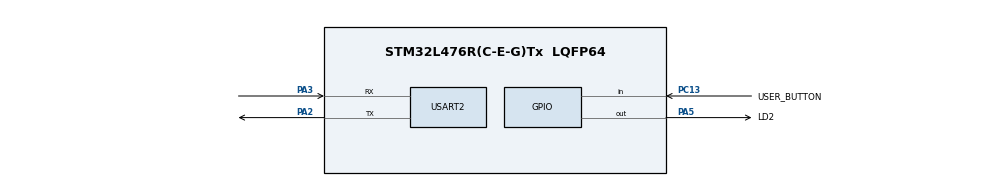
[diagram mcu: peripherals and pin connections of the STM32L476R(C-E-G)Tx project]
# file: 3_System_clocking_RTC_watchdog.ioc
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IWDG.Prescaler=IWDG_PRESCALER_32
Mcu.Family=STM32L4
Mcu.Name=STM32L476R(C-E-G)Tx
Mcu.Package=LQFP64
NVIC.PriorityGroup=NVIC_PRIORITYGROUP_4
NVIC.RTC_WKUP_IRQn=true\:0\:0\:false\:false\:true\:true\:true\:true
PA13\ (JTMS-SWDIO).Mode=Serial_Wire
PA13\ (JTMS-SWDIO).Signal=SYS_JTMS-SWDIO
PA14\ (JTCK-SWCLK).Mode=Serial_Wire
PA14\ (JTCK-SWCLK).Signal=SYS_JTCK-SWCLK
PA2.Mode=Asynchronous
PA2.Signal=USART2_TX
PA3.Mode=Asynchronous
PA3.Signal=USART2_RX
PA5.GPIO_Label=LD2
PA5.Signal=GPIO_Output
PC13.GPIO_Label=USER_BUTTON
PC13.Signal=GPIO_Input
PC14-OSC32_IN\ (PC14).Mode=LSE-External-Oscillator
PC14-OSC32_IN\ (PC14).Signal=RCC_OSC32_IN
PC15-OSC32_OUT\ (PC15).Mode=LSE-External-Oscillator
PC15-OSC32_OUT\ (PC15).Signal=RCC_OSC32_OUT
ProjectManager.HeapSize=0x200
ProjectManager.StackSize=0x400
ProjectManager.TargetToolchain=STM32CubeIDE
RCC.HSE_VALUE=8000000
RCC.HSI_VALUE=16000000
RCC.MSI_VALUE=4000000
RCC.RTCClockSelection=RCC_RTCCLKSOURCE_LSE
RCC.VCOOutputFreq_Value=32000000
USART2.VirtualMode-Asynchronous=VM_ASYNC
VP_IWDG_VS_IWDG.Mode=IWDG_Activate
VP_RTC_VS_RTC_Activate.Mode=RTC_Enabled
VP_RTC_VS_RTC_WakeUp_intern.Mode=WakeUp
board=custom

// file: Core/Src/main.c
/* USER CODE BEGIN Header */
/**
  ******************************************************************************
  * @file           : main.c
  * @brief          : Main program body
  ******************************************************************************
  * @attention
  *
  * Copyright (c) 2024 STMicroelectronics.
  * All rights reserved.
  *
  * This software is licensed under terms that can be found in the LICENSE file
  * in the root directory of this software component.
  * If no LICENSE file comes with this software, it is provided AS-IS.
  *
  ******************************************************************************
  */
/* USER CODE END Header */
#include "main.h"

/* USER CODE BEGIN Includes */
#include <stdio.h>
#include <string.h>
#include <stdbool.h>
/* USER CODE END Includes */

IWDG_HandleTypeDef hiwdg;

RTC_HandleTypeDef hrtc;

UART_HandleTypeDef huart2;

void SystemClock_Config(void);
static void MX_GPIO_Init(void);
static void MX_RTC_Init(void);
static void MX_USART2_UART_Init(void);
static void MX_IWDG_Init(void);

/* USER CODE BEGIN 0 */
int __io_putchar(int ch)
{
    if (ch == '\n') {
        uint8_t ch2 = '\r';
        HAL_UART_Transmit(&huart2, &ch2, 1, HAL_MAX_DELAY);
    }

    HAL_UART_Transmit(&huart2, (uint8_t*)&ch, 1, HAL_MAX_DELAY);
    return 1;
}

bool is_button_pressed(void)
{
  if (HAL_GPIO_ReadPin(USER_BUTTON_GPIO_Port, USER_BUTTON_Pin) == GPIO_PIN_RESET) {
    return true;
  } else {
    return false;
  }
}
/* USER CODE END 0 */

int main(void)
{

  /* MCU Configuration--------------------------------------------------------*/

  /* Reset of all peripherals, Initializes the Flash interface and the Systick. */
  HAL_Init();

  /* Configure the system clock */
  SystemClock_Config();

  /* Initialize all configured peripherals */
  MX_GPIO_Init();
  MX_RTC_Init();
  MX_USART2_UART_Init();
  MX_IWDG_Init();
  /* USER CODE BEGIN 2 */
  RTC_TimeTypeDef new_time = {0}; //variable for new time set
  RTC_DateTypeDef new_date = {0}; //variable for new date set

  new_time.Hours = 15;
  new_time.Minutes = 45;
  new_time.Seconds = 0;

  new_date.Date = 18;
  new_date.Month = 04;
  new_date.WeekDay = RTC_WEEKDAY_MONDAY;
  new_date.Year = 24;

  HAL_RTC_SetTime(&hrtc, &new_time, RTC_FORMAT_BIN);
  HAL_RTC_SetDate(&hrtc, &new_date, RTC_FORMAT_BIN);

  int i;

  for (i = 0; i < 10; i++) {
    HAL_GPIO_TogglePin(LD2_GPIO_Port, LD2_Pin);
    HAL_Delay(100);
  }
  int32_t last_ms = HAL_GetTick();
  /* USER CODE END 2 */

  /* Infinite loop */
  /* USER CODE BEGIN WHILE */
  while (1)
  {

	  uint32_t now = HAL_GetTick();
	  if(is_button_pressed())
	   {
		  while(1)
			  	  {
				  	  	  	  	  //infinity loop
			  	  }
	   }

	  	  if (now - last_ms >= 500) {
	  		  HAL_GPIO_TogglePin(LD2_GPIO_Port, LD2_Pin);
	  		  last_ms = now;
	  	  }

	  RTC_TimeTypeDef time;
	  RTC_DateTypeDef date;

	  HAL_RTC_GetTime(&hrtc, &time, RTC_FORMAT_BIN);
	  HAL_RTC_GetDate(&hrtc, &date, RTC_FORMAT_BIN);

	  printf("time now: %02d:%02d:%02d date:%02d.%02d.%04d \n", time.Hours, time.Minutes, time.Seconds, date.Date, date.Month, 2000 + date.Year);
	  HAL_Delay(200);
	  HAL_IWDG_Refresh(&hiwdg);
    /* USER CODE END WHILE */

  }
}

void SystemClock_Config(void)
{
  RCC_OscInitTypeDef RCC_OscInitStruct = {0};
  RCC_ClkInitTypeDef RCC_ClkInitStruct = {0};

  /** Configure the main internal regulator output voltage
  */
  if (HAL_PWREx_ControlVoltageScaling(PWR_REGULATOR_VOLTAGE_SCALE1) != HAL_OK)
  {
    Error_Handler();
  }

  /** Configure LSE Drive Capability
  */
  HAL_PWR_EnableBkUpAccess();
  __HAL_RCC_LSEDRIVE_CONFIG(RCC_LSEDRIVE_LOW);

  /** Initializes the RCC Oscillators according to the specified parameters
  * in the RCC_OscInitTypeDef structure.
  */
  RCC_OscInitStruct.OscillatorType = RCC_OSCILLATORTYPE_LSI|RCC_OSCILLATORTYPE_LSE
                              |RCC_OSCILLATORTYPE_MSI;
  RCC_OscInitStruct.LSEState = RCC_LSE_ON;
  RCC_OscInitStruct.LSIState = RCC_LSI_ON;
  RCC_OscInitStruct.MSIState = RCC_MSI_ON;
  RCC_OscInitStruct.MSICalibrationValue = 0;
  RCC_OscInitStruct.MSIClockRange = RCC_MSIRANGE_6;
  RCC_OscInitStruct.PLL.PLLState = RCC_PLL_NONE;
  if (HAL_RCC_OscConfig(&RCC_OscInitStruct) != HAL_OK)
  {
    Error_Handler();
  }

  /** Initializes the CPU, AHB and APB buses clocks
  */
  RCC_ClkInitStruct.ClockType = RCC_CLOCKTYPE_HCLK|RCC_CLOCKTYPE_SYSCLK
                              |RCC_CLOCKTYPE_PCLK1|RCC_CLOCKTYPE_PCLK2;
  RCC_ClkInitStruct.SYSCLKSource = RCC_SYSCLKSOURCE_MSI;
  RCC_ClkInitStruct.AHBCLKDivider = RCC_SYSCLK_DIV1;
  RCC_ClkInitStruct.APB1CLKDivider = RCC_HCLK_DIV1;
  RCC_ClkInitStruct.APB2CLKDivider = RCC_HCLK_DIV1;

  if (HAL_RCC_ClockConfig(&RCC_ClkInitStruct, FLASH_LATENCY_0) != HAL_OK)
  {
    Error_Handler();
  }

  /** Enable MSI Auto calibration
  */
  HAL_RCCEx_EnableMSIPLLMode();
}

static void MX_IWDG_Init(void)
{

  hiwdg.Instance = IWDG;
  hiwdg.Init.Prescaler = IWDG_PRESCALER_32;
  hiwdg.Init.Window = 4095;
  hiwdg.Init.Reload = 4095;
  if (HAL_IWDG_Init(&hiwdg) != HAL_OK)
  {
    Error_Handler();
  }

}

static void MX_RTC_Init(void)
{

  /** Initialize RTC Only
  */
  hrtc.Instance = RTC;
  hrtc.Init.HourFormat = RTC_HOURFORMAT_24;
  hrtc.Init.AsynchPrediv = 127;
  hrtc.Init.SynchPrediv = 255;
  hrtc.Init.OutPut = RTC_OUTPUT_DISABLE;
  hrtc.Init.OutPutRemap = RTC_OUTPUT_REMAP_NONE;
  hrtc.Init.OutPutPolarity = RTC_OUTPUT_POLARITY_HIGH;
  hrtc.Init.OutPutType = RTC_OUTPUT_TYPE_OPENDRAIN;
  if (HAL_RTC_Init(&hrtc) != HAL_OK)
  {
    Error_Handler();
  }

}

static void MX_USART2_UART_Init(void)
{

  huart2.Instance = USART2;
  huart2.Init.BaudRate = 115200;
  huart2.Init.WordLength = UART_WORDLENGTH_8B;
  huart2.Init.StopBits = UART_STOPBITS_1;
  huart2.Init.Parity = UART_PARITY_NONE;
  huart2.Init.Mode = UART_MODE_TX_RX;
  huart2.Init.HwFlowCtl = UART_HWCONTROL_NONE;
  huart2.Init.OverSampling = UART_OVERSAMPLING_16;
  huart2.Init.OneBitSampling = UART_ONE_BIT_SAMPLE_DISABLE;
  huart2.AdvancedInit.AdvFeatureInit = UART_ADVFEATURE_NO_INIT;
  if (HAL_UART_Init(&huart2) != HAL_OK)
  {
    Error_Handler();
  }

}

static void MX_GPIO_Init(void)
{
  GPIO_InitTypeDef GPIO_InitStruct = {0};

  /* GPIO Ports Clock Enable */
  __HAL_RCC_GPIOC_CLK_ENABLE();
  __HAL_RCC_GPIOA_CLK_ENABLE();

  /*Configure GPIO pin Output Level */
  HAL_GPIO_WritePin(LD2_GPIO_Port, LD2_Pin, GPIO_PIN_RESET);

  /*Configure GPIO pin : USER_BUTTON_Pin */
  GPIO_InitStruct.Pin = USER_BUTTON_Pin;
  GPIO_InitStruct.Mode = GPIO_MODE_INPUT;
  GPIO_InitStruct.Pull = GPIO_NOPULL;
  HAL_GPIO_Init(USER_BUTTON_GPIO_Port, &GPIO_InitStruct);

  /*Configure GPIO pin : LD2_Pin */
  GPIO_InitStruct.Pin = LD2_Pin;
  GPIO_InitStruct.Mode = GPIO_MODE_OUTPUT_PP;
  GPIO_InitStruct.Pull = GPIO_NOPULL;
  GPIO_InitStruct.Speed = GPIO_SPEED_FREQ_LOW;
  HAL_GPIO_Init(LD2_GPIO_Port, &GPIO_InitStruct);

}

void Error_Handler(void)
{
  __disable_irq();
  while (1)
  {
  }
}
